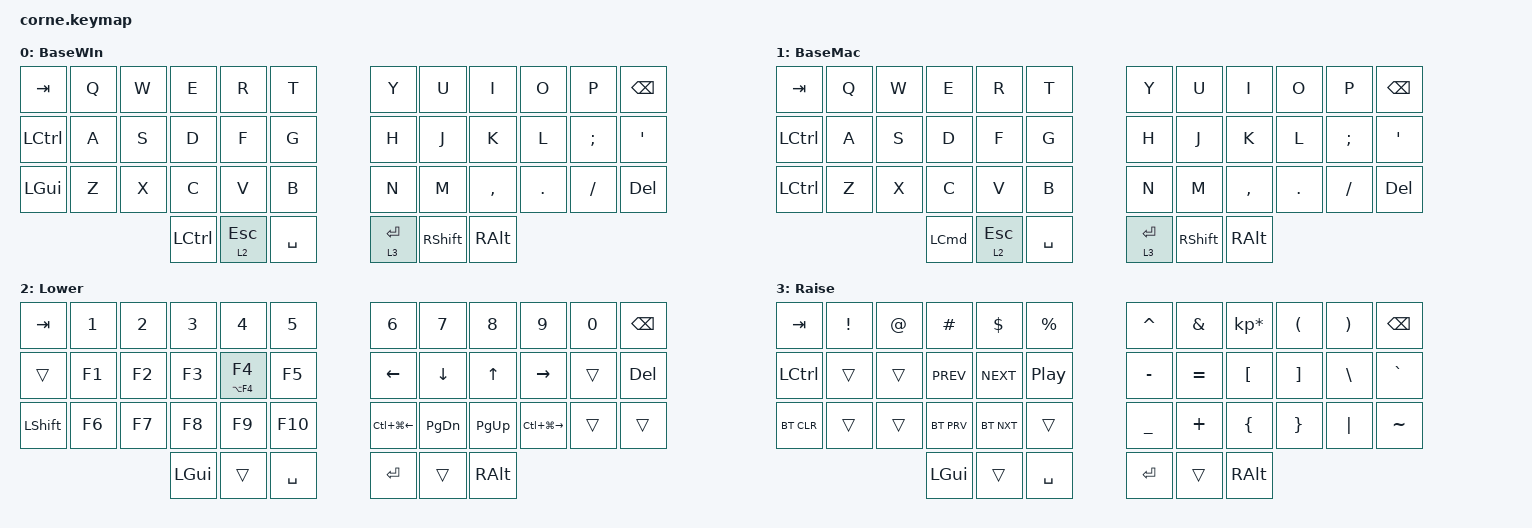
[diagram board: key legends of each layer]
/*
 * Copyright (c) 2020 The ZMK Contributors
 *
 * SPDX-License-Identifier: MIT
 */

#include <behaviors.dtsi>
#include <dt-bindings/zmk/bt.h>
#include <dt-bindings/zmk/keys.h>

/ {
    combos {
        compatible = "zmk,combos";

        bckspc_kl {
            bindings = <&kp BACKSPACE>;
            key-positions = <20 21>;
        };

        mac_layer_toggle {
            bindings = <&tog 1>;
            key-positions = <38 13 27>;
        };

        win_layer_toggle {
            bindings = <&tog 0>;
            key-positions = <38 13 2>;
        };
    };

    behaviors {
        holdpref: holdpref {
            compatible = "zmk,behavior-hold-tap";
            label = "HOLDPREF";
            #binding-cells = <2>;
            bindings = <&mo>, <&kp>;

            tapping-term-ms = <100>;
            hold-trigger-key-positions = <39 0 1 2 3 4 5 6 7 8 9 10 11 12 13 14 15 16 17 18 19 20 21 22 23 24 25 26 27 28 29 30 31 32 33 34 35 36 37 38 39 40 41>;
            retro-tap;
        };
    };

    keymap {
        compatible = "zmk,keymap";

        windows {
            // -----------------------------------------------------------------------------------------
            // |  TAB |  Q  |  W  |  E  |  R  |  T  |   |  Y  |  U   |  I  |  O  |  P  | BKSP |
            // | CTRL |  A  |  S  |  D  |  F  |  G  |   |  H  |  J   |  K  |  L  |  ;  |  '   |
            // | SHFT |  Z  |  X  |  C  |  V  |  B  |   |  N  |  M   |  ,  |  .  |  /  | ESC  |
            //                    | GUI | LWR | SPC |   | ENT | RSE  | ALT |

            label = "BaseWIn";
            bindings = <
&kp TAB    &kp Q  &kp W  &kp E      &kp R            &kp T        &kp Y              &kp U            &kp I          &kp O    &kp P     &kp BSPC
&kp LCTRL  &kp A  &kp S  &kp D      &kp F            &kp G        &kp H              &kp J            &kp K          &kp L    &kp SEMI  &kp SQT
&kp LGUI   &kp Z  &kp X  &kp C      &kp V            &kp B        &kp N              &kp M            &kp COMMA      &kp DOT  &kp FSLH  &kp DEL
                         &kp LCTRL  &holdpref 2 ESC  &kp SPACE    &holdpref 3 ENTER  &kp RIGHT_SHIFT  &kp RIGHT_ALT
            >;
        };

        macos {
            label = "BaseMac";
            bindings = <
&kp TAB    &kp Q  &kp W  &kp E             &kp R            &kp T        &kp Y              &kp U            &kp I          &kp O    &kp P     &kp BSPC
&kp LCTRL  &kp A  &kp S  &kp D             &kp F            &kp G        &kp H              &kp J            &kp K          &kp L    &kp SEMI  &kp SQT
&kp LCTRL  &kp Z  &kp X  &kp C             &kp V            &kp B        &kp N              &kp M            &kp COMMA      &kp DOT  &kp FSLH  &kp DEL
                         &kp LEFT_COMMAND  &holdpref 2 ESC  &kp SPACE    &holdpref 3 ENTER  &kp RIGHT_SHIFT  &kp RIGHT_ALT
            >;
        };

        lower_layer {
            // -----------------------------------------------------------------------------------------
            // |  TAB |  1  |  2  |  3  |  4  |  5  |   |  6  |  7  |  8  |  9  |  0  | BKSP |
            // | BTCLR| BT1 | BT2 | BT3 | BT4 | BT5 |   | LFT | DWN |  UP | RGT |     |      |
            // | SHFT |     |     |     |     |     |   |     |     |     |     |     |      |
            //                    | GUI |     | SPC |   | ENT |     | ALT |

            label = "Lower";
            bindings = <
&kp TAB    &kp N1  &kp N2  &kp N3    &kp N4         &kp N5       &kp N6            &kp N7         &kp N8       &kp N9             &kp N0  &kp BSPC
&trans     &kp F1  &kp F2  &kp F3    &mt LA(F4) F4  &kp F5       &kp LEFT          &kp DOWN       &kp UP       &kp RIGHT          &trans  &kp DEL
&kp LSHFT  &kp F6  &kp F7  &kp F8    &kp F9         &kp F10      &kp LC(LG(LEFT))  &kp PAGE_DOWN  &kp PAGE_UP  &kp LC(LG(RIGHT))  &trans  &trans
                           &kp LGUI  &trans         &kp SPACE    &kp RET           &trans         &kp RALT
            >;
        };

        raise_layer {
            // -----------------------------------------------------------------------------------------
            // |  TAB |  !  |  @  |  #  |  $  |  %  |   |  ^  |  &  |  *  |  (  |  )  | BKSP |
            // | CTRL |     |     |     |     |     |   |  -  |  =  |  [  |  ]  |  \  |  `   |
            // | SHFT |     |     |     |     |     |   |  _  |  +  |  {  |  }  | "|" |  ~   |
            //                    | GUI |     | SPC |   | ENT |     | ALT |

            label = "Raise";
            bindings = <
&kp TAB     &kp EXCL  &kp AT  &kp HASH    &kp DLLR    &kp PRCNT           &kp CARET  &kp AMPS   &kp KP_MULTIPLY  &kp LPAR  &kp RPAR  &kp BSPC
&kp LCTRL   &trans    &trans  &kp C_PREV  &kp C_NEXT  &kp C_PLAY_PAUSE    &kp MINUS  &kp EQUAL  &kp LBKT         &kp RBKT  &kp BSLH  &kp GRAVE
&bt BT_CLR  &trans    &trans  &bt BT_PRV  &bt BT_NXT  &trans              &kp UNDER  &kp PLUS   &kp LBRC         &kp RBRC  &kp PIPE  &kp TILDE
                              &kp LGUI    &trans      &kp SPACE           &kp RET    &trans     &kp RALT
            >;
        };
    };

    conditional_layers { compatible = "zmk,conditional-layers"; };
};
